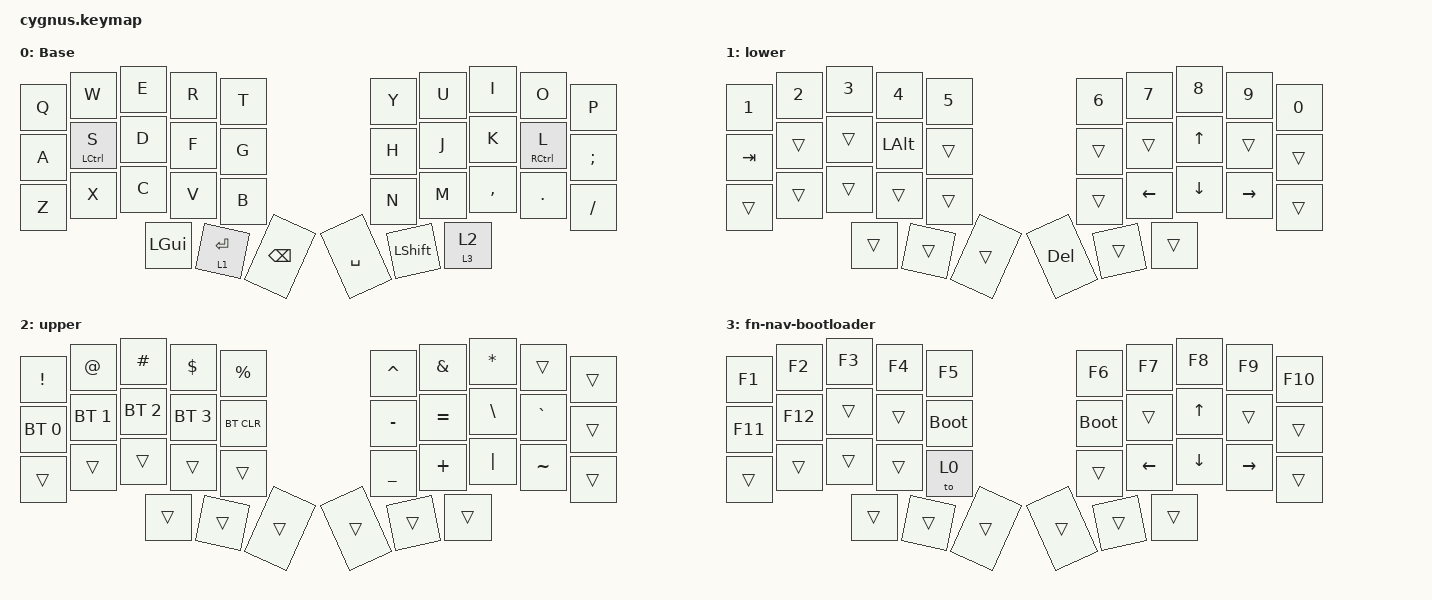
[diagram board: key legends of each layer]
#include <behaviors.dtsi>
#include <dt-bindings/zmk/bt.h>
#include <dt-bindings/zmk/keys.h>
#include "zmk-helpers/helper.h"
#include "zmk-helpers/key-labels/36.h"

#define KEYS_L LT0 LT1 LT2 LT3 LT4 LM0 LM1 LM2 LM3 LM4 LB0 LB1 LB2 LB3 LB4  // Left-hand keys.
#define KEYS_R RT0 RT1 RT2 RT3 RT4 RM0 RM1 RM2 RM3 RM4 RB0 RB1 RB2 RB3 RB4  // Right-hand keys.
#define THUMBS LH2 LH1 LH0 RH0 RH1 RH2 // thumb keys

/ {
    behaviors {
        /* Left-hand HRMs. */

        hml: hml {
            compatible = "zmk,behavior-hold-tap";
            label = "HML";
            #binding-cells = <2>;
            flavor = "balanced";
            tapping-term-ms = <280>;
            quick-tap-ms = <175>;
            require-prior-idle-ms = <150>;
            bindings = <&kp>, <&kp>;

            hold-trigger-key-positions = <KEYS_R THUMBS>;
            hold-trigger-on-release;
        };

        /* Right-hand HRMs. */

        hmr: hmr {
            compatible = "zmk,behavior-hold-tap";
            label = "HMR";
            #binding-cells = <2>;
            flavor = "balanced";
            tapping-term-ms = <280>;
            quick-tap-ms = <175>;
            require-prior-idle-ms = <150>;
            bindings = <&kp>, <&kp>;

            hold-trigger-key-positions = <KEYS_L THUMBS>;
            hold-trigger-on-release;
        };

        sh: sticky_hold {
            compatible = "zmk,behavior-hold-tap";
            label = "SH";
            bindings = <&mo>, <&sl>;

            #binding-cells = <2>;
            tapping-term-ms = <300>;
            quick-tap-ms = <0>;
            flavor = "tap-preferred";
        };

        dtd_ba: double_tap_dance_backspace {
            compatible = "zmk,behavior-tap-dance";
            label = "DTD";
            #binding-cells = <0>;
            bindings = <&kp BACKSPACE>, <&kp DEL>;
        };
    };

    combos {
        compatible = "zmk,combos";

        par1 {
            bindings = <&kp LEFT_PARENTHESIS>;
            key-positions = <3 2>;
            layers = <0>;
        };

        par2 {
            bindings = <&kp RIGHT_PARENTHESIS>;
            key-positions = <6 7>;
            layers = <0>;
        };

        cur1 {
            bindings = <&kp LEFT_BRACE>;
            key-positions = <23 22>;
            layers = <0>;
        };

        cur2 {
            bindings = <&kp RIGHT_BRACE>;
            key-positions = <26 27>;
            layers = <0>;
        };

        bracket1 {
            bindings = <&kp LEFT_BRACKET>;
            key-positions = <13 12>;
            layers = <0>;
        };

        bracket2 {
            bindings = <&kp RIGHT_BRACKET>;
            key-positions = <16 17>;
            layers = <0>;
        };

        esc {
            bindings = <&kp ESCAPE>;
            key-positions = <1 0>;
            layers = <0>;
        };

        quotes {
            bindings = <&kp SINGLE_QUOTE>;
            key-positions = <18 19>;
            layers = <0>;
        };

        enter {
            bindings = <&kp ENTER>;
            key-positions = <16 17 18>;
            layers = <0>;
        };

        lower {
            bindings = <&mo 1>;
            key-positions = <26 27 28>;
            layers = <0>;
        };

        shift {
            bindings = <&kp LEFT_SHIFT>;
            key-positions = <11 13 12>;
            layers = <0>;
        };

        alt {
            bindings = <&kp LALT>;
            key-positions = <21 22 23>;
            layers = <0>;
        };
    };

    keymap {
        compatible = "zmk,keymap";

        base {
            display-name = "Base";
            bindings = <
&kp Q  &kp W         &kp E         &kp R        &kp T          &kp Y      &kp U           &kp I      &kp O         &kp P
&kp A  &hml LCTRL S  &kp D         &kp F        &kp G          &kp H      &kp J           &kp K      &hmr RCTRL L  &kp SEMICOLON
&kp Z  &kp X         &kp C         &kp V        &kp B          &kp N      &kp M           &kp COMMA  &kp DOT       &kp SLASH
                     &kp LEFT_GUI  &lt 1 ENTER  &kp BACKSPACE  &kp SPACE  &kp LEFT_SHIFT  &sh 3 2
            >;
        };

        lower {
            bindings = <
&kp N1   &kp N2  &kp N3  &kp N4        &kp N5  &kp N6      &kp N7    &kp N8    &kp N9     &kp N0
&kp TAB  &trans  &trans  &kp LEFT_ALT  &trans  &trans      &trans    &kp UP    &trans     &trans
&trans   &trans  &trans  &trans        &trans  &trans      &kp LEFT  &kp DOWN  &kp RIGHT  &trans
                 &trans  &trans        &trans  &kp DELETE  &trans    &trans
            >;
        };

        upper {
            bindings = <
&kp EXCL      &kp AT        &kp HASH      &kp DOLLAR    &kp PERCENT  &kp CARET  &kp AMPS   &kp STAR  &trans     &trans
&bt BT_SEL 0  &bt BT_SEL 1  &bt BT_SEL 2  &bt BT_SEL 3  &bt BT_CLR   &kp MINUS  &kp EQUAL  &kp BSLH  &kp GRAVE  &trans
&trans        &trans        &trans        &trans        &trans       &kp UNDER  &kp PLUS   &kp PIPE  &kp TILDE  &trans
                            &trans        &trans        &trans       &trans     &trans     &trans
            >;
        };

        fn-nav-bootloader {
            bindings = <
&kp F1   &kp F2   &kp F3  &kp F4  &kp F5       &kp F6       &kp F7    &kp F8    &kp F9     &kp F10
&kp F11  &kp F12  &trans  &trans  &bootloader  &bootloader  &trans    &kp UP    &trans     &trans
&trans   &trans   &trans  &trans  &to 0        &trans       &kp LEFT  &kp DOWN  &kp RIGHT  &trans
                  &trans  &trans  &trans       &trans       &trans    &trans
            >;
        };
    };
};
